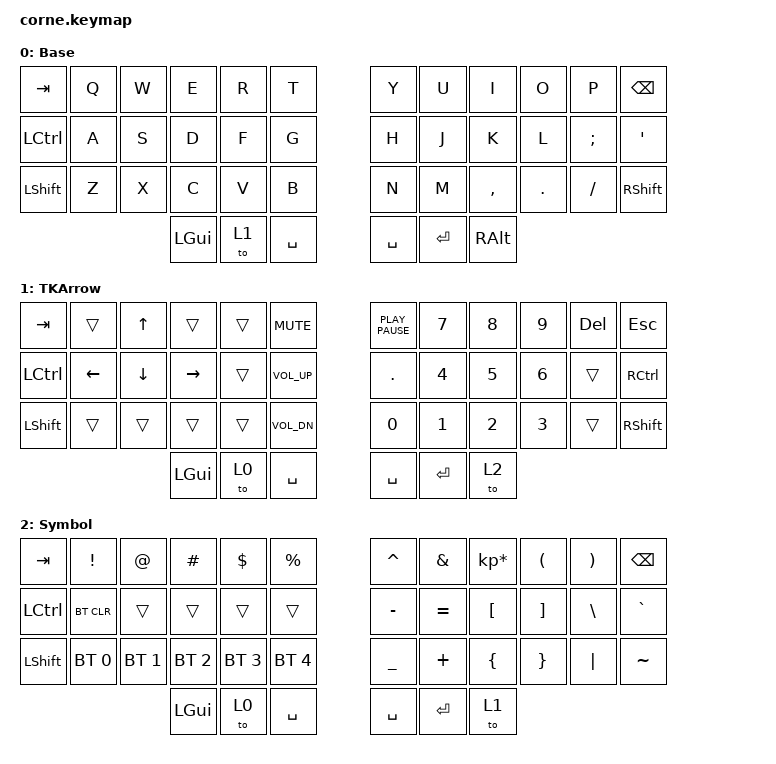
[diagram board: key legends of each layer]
/*
 * Copyright (c) 2020 The ZMK Contributors
 *
 * SPDX-License-Identifier: MIT
 */

#include <behaviors.dtsi>
#include <dt-bindings/zmk/bt.h>
#include <dt-bindings/zmk/keys.h>

/ {
    keymap {
        compatible = "zmk,keymap";

        default_layer {
            // -----------------------------------------------------------------------------------------
            // |  TAB |  Q  |  W  |  E  |  R  |  T  |   |  Y  |  U   |  I  |  O  |  P  | BKSP |
            // | CTRL |  A  |  S  |  D  |  F  |  G  |   |  H  |  J   |  K  |  L  |  ;  |  '   |
            // | SHFT |  Z  |  X  |  C  |  V  |  B  |   |  N  |  M   |  ,  |  .  |  /  | ESC  |
            //                    | GUI | LWR | SPC |   | ENT | RSE  | ALT |

            label = "Base";
            bindings = <
&kp TAB    &kp Q  &kp W  &kp E     &kp R  &kp T        &kp Y      &kp U    &kp I      &kp O    &kp P     &kp BSPC
&kp LCTRL  &kp A  &kp S  &kp D     &kp F  &kp G        &kp H      &kp J    &kp K      &kp L    &kp SEMI  &kp SQT
&kp LSHFT  &kp Z  &kp X  &kp C     &kp V  &kp B        &kp N      &kp M    &kp COMMA  &kp DOT  &kp FSLH  &kp RSHFT
                         &kp LGUI  &to 1  &kp SPACE    &kp SPACE  &kp RET  &kp RALT
            >;
        };

        TK_Arrow {
            // -----------------------------------------------------------------------------------------
            // |  TAB |  1  |  2  |  3  |  4  |  5  |   |  6  |  7  |  8  |  9  |  0  | BKSP |
            // | BTCLR| BT1 | BT2 | BT3 | BT4 | BT5 |   | LFT | DWN |  UP | RGT |     |      |
            // | SHFT |     |     |     |     |     |   |     |     |     |     |     |      |
            //                    | GUI |     | SPC |   | ENT |     | ALT |

            label = "TKArrow";
            bindings = <
&kp TAB    &trans    &kp UP    &trans     &trans  &kp C_MUTE      &kp K_PLAY_PAUSE  &kp N7   &kp N8  &kp N9  &kp DEL  &kp ESC
&kp LCTRL  &kp LEFT  &kp DOWN  &kp RIGHT  &trans  &kp C_VOL_UP    &kp DOT           &kp N4   &kp N5  &kp N6  &trans   &kp RCTRL
&kp LSHFT  &trans    &trans    &trans     &trans  &kp C_VOL_DN    &kp N0            &kp N1   &kp N2  &kp N3  &trans   &kp RSHFT
                               &kp LGUI   &to 0   &kp SPACE       &kp SPACE         &kp RET  &to 2
            >;
        };

        Symbol_Layer {
            // -----------------------------------------------------------------------------------------
            // |  TAB |  !  |  @  |  #  |  $  |  %  |   |  ^  |  &  |  *  |  (  |  )  | BKSP |
            // | CTRL |     |     |     |     |     |   |  -  |  =  |  [  |  ]  |  \  |  `   |
            // | SHFT |     |     |     |     |     |   |  _  |  +  |  {  |  }  | "|" |  ~   |
            //                    | GUI |     | SPC |   | ENT |     | ALT |

            label = "Symbol";
            bindings = <
&kp TAB    &kp EXCL      &kp AT        &kp HASH      &kp DLLR      &kp PRCNT       &kp CARET  &kp AMPS   &kp KP_MULTIPLY  &kp LPAR  &kp RPAR  &kp BSPC
&kp LCTRL  &bt BT_CLR    &trans        &trans        &trans        &trans          &kp MINUS  &kp EQUAL  &kp LBKT         &kp RBKT  &kp BSLH  &kp GRAVE
&kp LSHFT  &bt BT_SEL 0  &bt BT_SEL 1  &bt BT_SEL 2  &bt BT_SEL 3  &bt BT_SEL 4    &kp UNDER  &kp PLUS   &kp LBRC         &kp RBRC  &kp PIPE  &kp TILDE
                                       &kp LGUI      &to 0         &kp SPACE       &kp SPACE  &kp RET    &to 1
            >;
        };
    };
};
